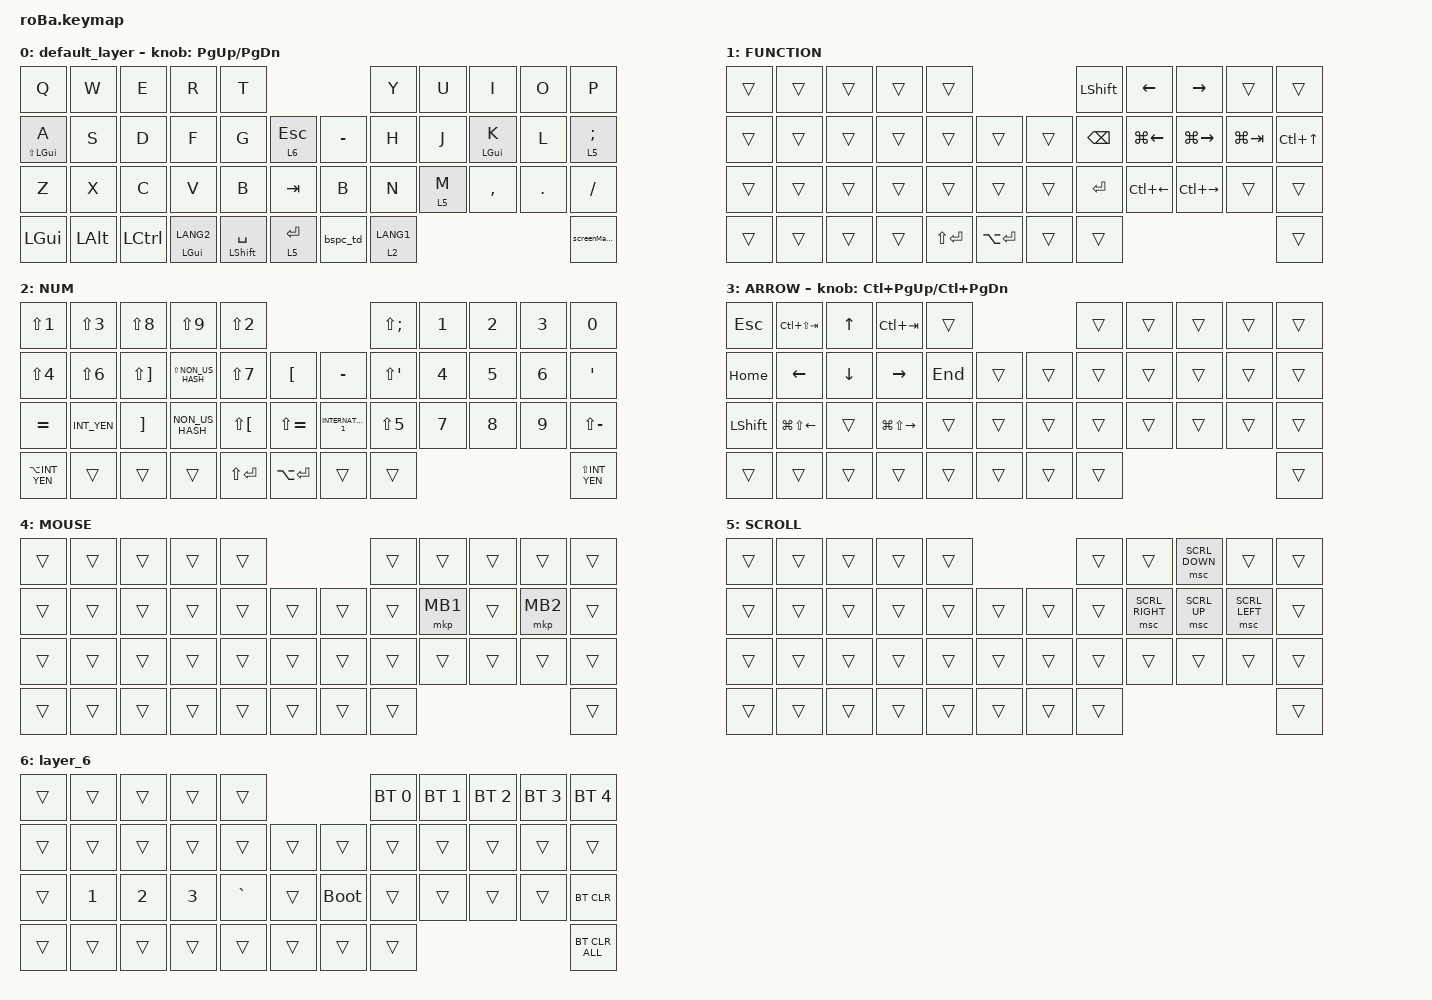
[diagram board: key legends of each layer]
#include <input/processors.dtsi>
#include <dt-bindings/zmk/input_transform.h>
#include <behaviors.dtsi>
#include <dt-bindings/zmk/bt.h>
#include <dt-bindings/zmk/keys.h>
#include <dt-bindings/zmk/pointing.h>

&mt {
    flavor = "balanced";
    quick-tap-ms = <0>;
};

&trackball {
    automouse-layer = <4>;

    arrows {
        layers = <1>;
        bindings =
            <&kp LC(LEFT_ARROW)>,
            <&kp LC(RIGHT_ARROW)>,
            <&none>,
            <&none>;

        tick = <10>;
        wait-ms = <5>;
        tap-ms = <5>;
    };
};

&trackball_listener {
    input-processors = <
        &zip_xy_scaler 6 5
    >;

    scroller {
        layers = <5>;
        input-processors = <
            &zip_xy_to_scroll_mapper
            &zip_scroll_scaler 1 10
            &zip_scroll_transform INPUT_TRANSFORM_Y_INVERT
        >;
    };
};

/ {
    combos {
        compatible = "zmk,combos";

        lclick {
            bindings = <&mkp MB1>;
            key-positions = <18 19>;
        };

        rclick {
            bindings = <&mkp MB2>;
            key-positions = <19 20>;
        };
    };

    macros {
        screenMacro: screenMacro {
            compatible = "zmk,behavior-macro";
            #binding-cells = <0>;
            bindings =
                <&macro_press>,
                <&kp LGUI &kp LEFT_SHIFT &kp LEFT_CONTROL>,
                <&macro_tap>,
                <&kp N4>,
                <&macro_release>,
                <&kp LGUI &kp LSHFT &kp LCTRL>;

            label = "SCREENMACRO";
        };

        to_layer_0: to_layer_0 {
            compatible = "zmk,behavior-macro";
            #binding-cells = <0>;
            bindings = <&to 0>;
            label = "TO_LAYER_0";
        };
    };

    behaviors {
        lt_to_layer_0: lt_to_layer_0 {
            compatible = "zmk,behavior-hold-tap";
            label = "LAYER_TAP_TO_0";
            bindings = <&mo>, <&to_layer_0>;

            #binding-cells = <2>;
            tapping-term-ms = <200>;
        };

        bspc_hold: bspc_hold {
            compatible = "zmk,behavior-hold-tap";
            label = "BSPC_HOLD";
            #binding-cells = <2>;
            flavor = "hold-preferred";
            tapping-term-ms = <200>;
            bindings = <&mo>, <&kp>;
        };

        bspc_repeat: bspc_repeat {
            compatible = "zmk,behavior-hold-tap";
            label = "BSPC_REPEAT";
            #binding-cells = <2>;
            flavor = "hold-preferred";
            tapping-term-ms = <200>;
            bindings = <&kp>, <&kp>;
        };

        bspc_td: bspc_td {
            compatible = "zmk,behavior-tap-dance";
            label = "BSPC_TD";
            #binding-cells = <0>;
            tapping-term-ms = <220>;
            bindings =
                <&bspc_hold 1 BACKSPACE>,
                <&bspc_repeat BACKSPACE BACKSPACE>;
        };
    };

    keymap {
        compatible = "zmk,keymap";

        default_layer {
            bindings = <
&kp Q           &kp W         &kp E      &kp R           &kp T                                              &kp Y        &kp U    &kp I       &kp O    &kp P
&mt LS(LGUI) A  &kp S         &kp D      &kp F           &kp G                 &lt 6 ESCAPE      &kp MINUS  &kp H        &kp J    &mt LGUI K  &kp L    &lt 5 SEMICOLON
&kp Z           &kp X         &kp C      &kp V           &kp B                 &kp TAB           &kp B      &kp N        &lt 5 M  &kp COMMA   &kp DOT  &kp SLASH
&kp LGUI        &kp LEFT_ALT  &kp LCTRL  &mt LGUI LANG2  &mt LEFT_SHIFT SPACE  &lt 5 ENTER       &bspc_td   &lt 2 LANG1                                &screenMacro
            >;

            sensor-bindings = <&inc_dec_kp PG_UP PAGE_DOWN>;
        };

        FUNCTION {
            bindings = <
&trans  &trans  &trans  &trans  &trans                                    &kp LSHIFT     &kp LEFT_ARROW      &kp RIGHT_ARROW      &trans       &trans
&trans  &trans  &trans  &trans  &trans         &trans             &trans  &kp BACKSPACE  &kp LG(LEFT_ARROW)  &kp LG(RIGHT_ARROW)  &kp LG(TAB)  &kp LC(UP_ARROW)
&trans  &trans  &trans  &trans  &trans         &trans             &trans  &kp ENTER      &kp LC(LEFT_ARROW)  &kp LC(RIGHT_ARROW)  &trans       &trans
&trans  &trans  &trans  &trans  &kp LS(ENTER)  &kp LA(ENTER)      &trans  &trans                                                               &trans
            >;
        };

        NUM {
            bindings = <
&kp LS(N1)       &kp LS(N3)   &kp LS(N8)    &kp LS(N9)           &kp LS(N2)                                               &kp LS(SEMICOLON)  &kp N1  &kp N2  &kp N3  &kp N0
&kp LS(N4)       &kp LS(N6)   &kp LS(RBKT)  &kp LS(NON_US_HASH)  &kp LS(N7)      &kp LBKT            &kp MINUS            &kp LS(SQT)        &kp N4  &kp N5  &kp N6  &kp SQT
&kp EQUAL        &kp INT_YEN  &kp RBKT      &kp NON_US_HASH      &kp LS(LBKT)    &kp LS(EQUAL)       &kp INTERNATIONAL_1  &kp LS(N5)         &kp N7  &kp N8  &kp N9  &kp LS(MINUS)
&kp LA(INT_YEN)  &trans       &trans        &trans               &kp LS(RETURN)  &kp LA(RETURN)      &trans               &trans                                     &kp LS(INT_YEN)
            >;
        };

        ARROW {
            bindings = <
&kp ESCAPE      &kp LC(LS(TAB))         &kp UP_ARROW    &kp LC(TAB)              &trans                       &trans  &trans  &trans  &trans  &trans
&kp HOME        &kp LEFT_ARROW          &kp DOWN_ARROW  &kp RIGHT_ARROW          &kp END  &trans      &trans  &trans  &trans  &trans  &trans  &trans
&kp LEFT_SHIFT  &kp LG(LS(LEFT_ARROW))  &trans          &kp LG(LS(RIGHT_ARROW))  &trans   &trans      &trans  &trans  &trans  &trans  &trans  &trans
&trans          &trans                  &trans          &trans                   &trans   &trans      &trans  &trans                          &trans
            >;

            sensor-bindings = <&inc_dec_kp LC(PAGE_UP) LC(PAGE_DOWN)>;
        };

        MOUSE {
            bindings = <
&trans  &trans  &trans  &trans  &trans                      &trans  &trans    &trans  &trans    &trans
&trans  &trans  &trans  &trans  &trans  &trans      &trans  &trans  &mkp MB1  &trans  &mkp MB2  &trans
&trans  &trans  &trans  &trans  &trans  &trans      &trans  &trans  &trans    &trans  &trans    &trans
&trans  &trans  &trans  &trans  &trans  &trans      &trans  &trans                              &trans
            >;
        };

        SCROLL {
            bindings = <
&trans  &trans  &trans  &trans  &trans                      &trans  &trans           &msc SCRL_DOWN  &trans          &trans
&trans  &trans  &trans  &trans  &trans  &trans      &trans  &trans  &msc SCRL_RIGHT  &msc SCRL_UP    &msc SCRL_LEFT  &trans
&trans  &trans  &trans  &trans  &trans  &trans      &trans  &trans  &trans           &trans          &trans          &trans
&trans  &trans  &trans  &trans  &trans  &trans      &trans  &trans                                                   &trans
            >;
        };

        layer_6 {
            bindings = <
&trans  &trans        &trans        &trans        &trans                              &bt BT_SEL 0  &bt BT_SEL 1  &bt BT_SEL 2  &bt BT_SEL 3  &bt BT_SEL 4
&trans  &trans        &trans        &trans        &trans     &trans      &trans       &trans        &trans        &trans        &trans        &trans
&trans  &kp NUMBER_1  &kp NUMBER_2  &kp NUMBER_3  &kp GRAVE  &trans      &bootloader  &trans        &trans        &trans        &trans        &bt BT_CLR
&trans  &trans        &trans        &trans        &trans     &trans      &trans       &trans                                                  &bt BT_CLR_ALL
            >;
        };
    };
};
